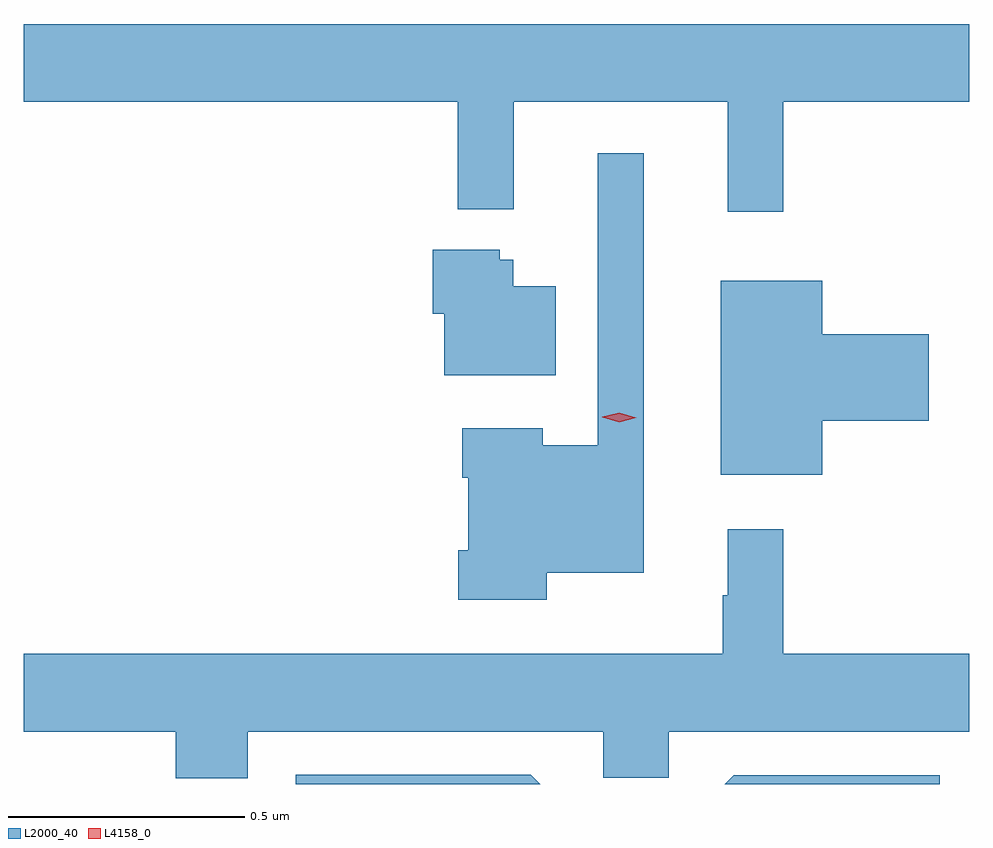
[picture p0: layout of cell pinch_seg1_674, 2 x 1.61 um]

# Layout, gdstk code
import gdstk
lib = gdstk.Library(unit=1e-6, precision=1e-09)
def P(c, l, *ps):  # polygons
    for p in ps: c.add(gdstk.Polygon(p, *l))
L2000_40 = (2000, 40)
L4158_0 = (4158, 0)

pinch_seg1_674 = lib.new_cell('pinch_seg1_674')
P(pinch_seg1_674, L2000_40, [(856.271,577.04),(856.665,577.04),(856.665,577.204),(854.665,577.204),(854.665,577.04),(855.583,577.04),(855.583,576.812),(855.701,576.812),(855.701,577.04),(856.154,577.04),(856.154,576.807),(856.271,576.807)],
  [(855.771,576.044),(855.976,576.044),(855.976,576.931),(855.879,576.931),(855.879,576.313),(855.763,576.313),(855.763,576.349),(855.593,576.349),(855.593,576.245),(855.605,576.245),(855.605,576.091),(855.584,576.091),(855.584,575.987),(855.771,575.987)],
  [(855.79,576.649),(855.7,576.649),(855.7,576.705),(855.672,576.705),(855.672,576.727),(855.53,576.727),(855.53,576.591),(855.554,576.591),(855.554,576.461),(855.79,576.461)],
  [(856.354,576.365),(856.579,576.365),(856.579,576.548),(856.354,576.548),(856.354,576.661),(856.139,576.661),(856.139,576.251),(856.354,576.251)],
  [(855.139,575.708),(855.891,575.708),(855.891,575.61),(856.029,575.61),(856.029,575.708),(856.665,575.708),(856.665,575.872),(856.271,575.872),(856.271,576.136),(856.154,576.136),(856.154,575.996),(856.143,575.996),(856.143,575.872),(854.665,575.872),(854.665,575.708),(854.987,575.708),(854.987,575.609),(855.139,575.609)],
  [(855.737,575.617),(855.24,575.617),(855.24,575.597),(855.757,575.597)],
  [(856.602,575.616),(856.167,575.616),(856.148,575.597),(856.602,575.597)])
P(pinch_seg1_674, L4158_0, [(855.925,576.362),(855.889,576.373),(855.889,576.374),(855.889,576.374),(855.925,576.382),(855.96,576.371),(855.961,576.371),(855.96,576.371)])

lib.write_gds('pinch_seg1_674.gds')
